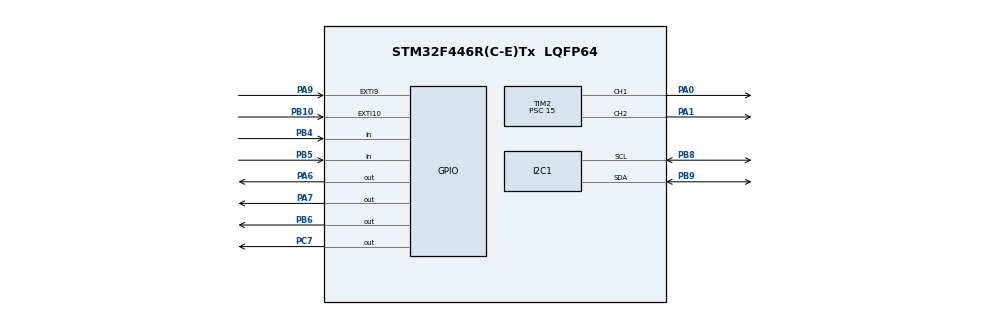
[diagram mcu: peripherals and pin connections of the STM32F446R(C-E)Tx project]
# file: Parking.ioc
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I2C1.I2C_Mode=I2C_Fast
Mcu.Family=STM32F4
Mcu.Name=STM32F446R(C-E)Tx
Mcu.Package=LQFP64
NVIC.EXTI15_10_IRQn=true\:3\:0\:true\:false\:true\:true\:true\:true
NVIC.EXTI9_5_IRQn=true\:3\:0\:true\:false\:true\:true\:true\:true
NVIC.PriorityGroup=NVIC_PRIORITYGROUP_4
NVIC.TIM6_DAC_IRQn=true\:3\:0\:true\:false\:true\:true\:true\:true
PA0-WKUP.Signal=S_TIM2_CH1_ETR
PA1.Signal=S_TIM2_CH2
PA13.Mode=Serial_Wire
PA13.Signal=SYS_JTMS-SWDIO
PA14.Mode=Serial_Wire
PA14.Signal=SYS_JTCK-SWCLK
PA6.Signal=GPIO_Output
PA7.Signal=GPIO_Output
PA9.GPIO_ModeDefaultEXTI=GPIO_MODE_IT_FALLING
PA9.GPIO_PuPd=GPIO_PULLUP
PA9.Signal=GPXTI9
PB10.GPIO_ModeDefaultEXTI=GPIO_MODE_IT_FALLING
PB10.GPIO_PuPd=GPIO_PULLUP
PB10.Signal=GPXTI10
PB4.GPIO_PuPd=GPIO_PULLUP
PB4.Signal=GPIO_Input
PB5.GPIO_PuPd=GPIO_PULLUP
PB5.Signal=GPIO_Input
PB6.Signal=GPIO_Output
PB8.Mode=I2C
PB8.Signal=I2C1_SCL
PB9.Mode=I2C
PB9.Signal=I2C1_SDA
PC7.Signal=GPIO_Output
ProjectManager.HeapSize=0x200
ProjectManager.StackSize=0x400
ProjectManager.TargetToolchain=STM32CubeIDE
RCC.CortexFreq_Value=16000000
RCC.USBFreq_Value=96000000
RCC.VCOOutputFreq_Value=192000000
SH.S_TIM2_CH1_ETR.0=TIM2_CH1,PWM Generation1 CH1
SH.S_TIM2_CH2.0=TIM2_CH2,PWM Generation2 CH2
TIM2.Channel-PWM\ Generation1\ CH1=TIM_CHANNEL_1
TIM2.Channel-PWM\ Generation2\ CH2=TIM_CHANNEL_2
TIM2.Period=19999
TIM2.Prescaler=15
TIM2.Pulse-PWM\ Generation1\ CH1=1000
TIM2.Pulse-PWM\ Generation2\ CH2=1000
TIM6.Period=199
TIM6.Prescaler=15999
TIM7.Period=199
TIM7.Prescaler=15999
VP_TIM6_VS_ClockSourceINT.Mode=Enable_Timer
VP_TIM7_VS_ClockSourceINT.Mode=Enable_Timer
board=custom

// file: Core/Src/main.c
/* USER CODE BEGIN Header */
/**
  ******************************************************************************
  * @file           : main.c
  * @brief          : Main program body
  ******************************************************************************
  * @attention
  *
  * Copyright (c) 2024 STMicroelectronics.
  * All rights reserved.
  *
  * This software is licensed under terms that can be found in the LICENSE file
  * in the root directory of this software component.
  * If no LICENSE file comes with this software, it is provided AS-IS.
  *
  ******************************************************************************
  */
/* USER CODE END Header */
#include "main.h"
#include "i2c.h"
#include "tim.h"
#include "gpio.h"
#include "liquidcrystal_i2c.h"

void SystemClock_Config(void);

/* USER CODE BEGIN 0 */

void display_spot(uint16_t spot1, uint16_t spot2){
	//funkcija za ispis podataka na displayu
	  HD44780_Clear();
	  HD44780_SetCursor(0,0);
	  HD44780_PrintStr("Slobodna mjesta");

	  if(spot1 == 1){
		  HD44780_SetCursor(4,1);
		  HD44780_PrintStr("P1");
	  }
	  else{}
	  if(spot2 == 1){
		  HD44780_SetCursor(10,1);
		  HD44780_PrintStr("P2");
	  }
	  else{}
	  if(spot1 == 0 && spot2 == 0){
		  HD44780_Clear();
		  HD44780_SetCursor(1,0);
		  HD44780_PrintStr("Nema slobodnih");
		  HD44780_SetCursor(5,1);
 		  HD44780_PrintStr("mjesta");
	  }
	  HAL_Delay(1000);
}
/* USER CODE END 0 */

int main(void)
{

  /* Reset of all peripherals, Initializes the Flash interface and the Systick. */
  HAL_Init();

  /* Configure the system clock */
  SystemClock_Config();

  /* Initialize all configured peripherals */
  MX_GPIO_Init();
  MX_I2C1_Init();
  MX_TIM6_Init();
  MX_TIM7_Init();
  MX_TIM2_Init();
  /* USER CODE BEGIN 2 */

  HD44780_Init(2);

  	//inicijalizacija pomoćnih varijabli
  	uint16_t switchState_P1;
    uint16_t switchState_P2;

    uint16_t spot1;
    uint16_t spot2;

    while (1)
    {
      //očitavanje stanja senzora
  	  switchState_P1 = HAL_GPIO_ReadPin(GPIOB, GPIO_PIN_4);
  	  switchState_P2 = HAL_GPIO_ReadPin(GPIOB, GPIO_PIN_5);

  	  //provjera stanja sezora i upravljanje signalizacijom
  	  if(switchState_P1 == 0){
  		  HAL_GPIO_WritePin(GPIOA, GPIO_PIN_6, GPIO_PIN_RESET);
  		  HAL_GPIO_WritePin(GPIOA, GPIO_PIN_7, GPIO_PIN_SET);
  		  spot1=0;

  	  }
  	  if(switchState_P1 == 1){
  	  		  HAL_GPIO_WritePin(GPIOA, GPIO_PIN_6, GPIO_PIN_SET);
  	  		  HAL_GPIO_WritePin(GPIOA, GPIO_PIN_7, GPIO_PIN_RESET);
  	  		  spot1 = 1;
  	  	  }
  	  if(switchState_P2 == 0){
  	  		  HAL_GPIO_WritePin(GPIOB, GPIO_PIN_6, GPIO_PIN_RESET);
  	  		  HAL_GPIO_WritePin(GPIOC, GPIO_PIN_7, GPIO_PIN_SET);
  	  		  spot2=0;
  	  	  }
  	  if(switchState_P2 == 1){
  	  	  	  HAL_GPIO_WritePin(GPIOB, GPIO_PIN_6, GPIO_PIN_SET);
  	  	  	  HAL_GPIO_WritePin(GPIOC, GPIO_PIN_7, GPIO_PIN_RESET);

  	  	  	  spot2 = 1;
  	  	  }
  	  if(switchState_P1 == 0 && switchState_P2 == 0){

  		  spot1=0;
  		  spot2=0;

  	  }
  	  //pozivanje funkcije za ispis slobodnih mjesta
  	  display_spot(spot1, spot2);

  	/* USER CODE END WHILE */
    }
  }

void SystemClock_Config(void)
{
  RCC_OscInitTypeDef RCC_OscInitStruct = {0};
  RCC_ClkInitTypeDef RCC_ClkInitStruct = {0};

  /** Configure the main internal regulator output voltage
  */
  __HAL_RCC_PWR_CLK_ENABLE();
  __HAL_PWR_VOLTAGESCALING_CONFIG(PWR_REGULATOR_VOLTAGE_SCALE3);

  /** Initializes the RCC Oscillators according to the specified parameters
  * in the RCC_OscInitTypeDef structure.
  */
  RCC_OscInitStruct.OscillatorType = RCC_OSCILLATORTYPE_HSI;
  RCC_OscInitStruct.HSIState = RCC_HSI_ON;
  RCC_OscInitStruct.HSICalibrationValue = RCC_HSICALIBRATION_DEFAULT;
  RCC_OscInitStruct.PLL.PLLState = RCC_PLL_NONE;
  if (HAL_RCC_OscConfig(&RCC_OscInitStruct) != HAL_OK)
  {
    Error_Handler();
  }

  /** Initializes the CPU, AHB and APB buses clocks
  */
  RCC_ClkInitStruct.ClockType = RCC_CLOCKTYPE_HCLK|RCC_CLOCKTYPE_SYSCLK
                              |RCC_CLOCKTYPE_PCLK1|RCC_CLOCKTYPE_PCLK2;
  RCC_ClkInitStruct.SYSCLKSource = RCC_SYSCLKSOURCE_HSI;
  RCC_ClkInitStruct.AHBCLKDivider = RCC_SYSCLK_DIV1;
  RCC_ClkInitStruct.APB1CLKDivider = RCC_HCLK_DIV1;
  RCC_ClkInitStruct.APB2CLKDivider = RCC_HCLK_DIV1;

  if (HAL_RCC_ClockConfig(&RCC_ClkInitStruct, FLASH_LATENCY_0) != HAL_OK)
  {
    Error_Handler();
  }
}

void Error_Handler(void)
{
  __disable_irq();
  while (1)
  {
  }
}
